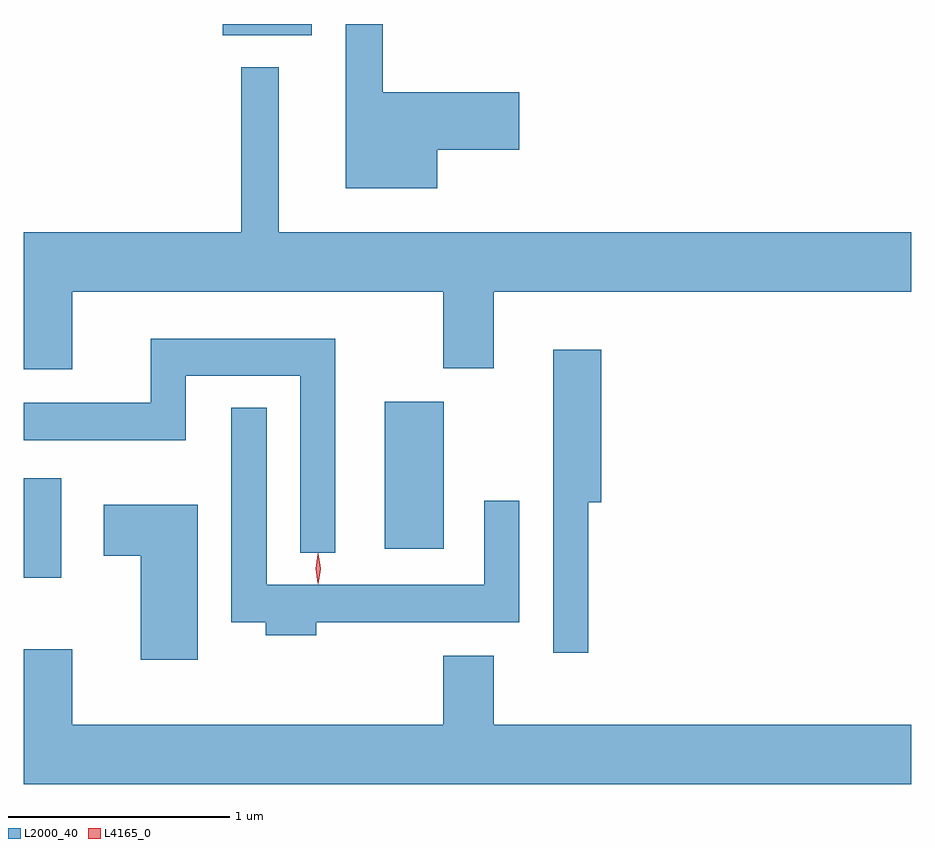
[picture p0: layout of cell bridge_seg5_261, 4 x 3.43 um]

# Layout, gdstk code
import gdstk
lib = gdstk.Library(unit=1e-6, precision=1e-09)
def R(c, l, rs):  # rectangles x0, y0, x1, y1
    for r in rs: c.add(gdstk.rectangle(r[:2], r[2:], *l))
def P(c, l, *ps):  # polygons
    for p in ps: c.add(gdstk.Polygon(p, *l))
L2000_40 = (2000, 40)
L4165_0 = (4165, 0)

bridge_seg5_261 = lib.new_cell('bridge_seg5_261')
R(bridge_seg5_261, L2000_40, [(690.19,1508.786,690.359,1509.234), (691.816,1508.916,692.084,1509.579), (691.086,1511.231,691.489,1511.282)])
P(bridge_seg5_261, L2000_40, [(692.054,1510.716),(692.424,1510.716),(692.424,1510.974),(691.809,1510.974),(691.809,1511.282),(691.641,1511.282),(691.641,1510.541),(692.054,1510.541)],
  [(690.409,1510.076),(692.081,1510.076),(692.081,1509.731),(692.309,1509.731),(692.309,1510.076),(694.19,1510.076),(694.19,1510.344),(691.339,1510.344),(691.339,1511.088),(691.171,1511.088),(691.171,1510.344),(690.19,1510.344),(690.19,1509.726),(690.409,1509.726)],
  [(691.594,1509.864),(690.761,1509.864),(690.761,1509.574),(690.19,1509.574),(690.19,1509.406),(690.919,1509.406),(690.919,1509.696),(691.436,1509.696),(691.436,1508.898),(691.594,1508.898)],
  [(692.734,1509.126),(692.794,1509.126),(692.794,1509.814),(692.576,1509.814),(692.576,1508.448),(692.734,1508.448)],
  [(691.509,1508.586),(692.424,1508.586),(692.424,1509.133),(692.266,1509.133),(692.266,1508.754),(691.284,1508.754),(691.284,1509.553),(691.126,1509.553),(691.126,1508.586),(691.281,1508.586),(691.281,1508.526),(691.509,1508.526)],
  [(690.974,1509.114),(690.551,1509.114),(690.551,1508.886),(690.716,1508.886),(690.716,1508.416),(690.974,1508.416)],
  [(694.19,1508.124),(692.309,1508.124),(692.309,1508.434),(692.081,1508.434),(692.081,1508.124),(690.409,1508.124),(690.409,1508.464),(690.19,1508.464),(690.19,1507.856),(694.19,1507.856)])
P(bridge_seg5_261, L4165_0, [(691.518,1508.757),(691.518,1508.757),(691.508,1508.827),(691.518,1508.896),(691.518,1508.896),(691.518,1508.896),(691.528,1508.827),(691.518,1508.757)],
  [(691.515,1508.76),(691.506,1508.826),(691.515,1508.892),(691.516,1508.893),(691.516,1508.892),(691.526,1508.826),(691.516,1508.76),(691.516,1508.76)])

lib.write_gds('bridge_seg5_261.gds')
